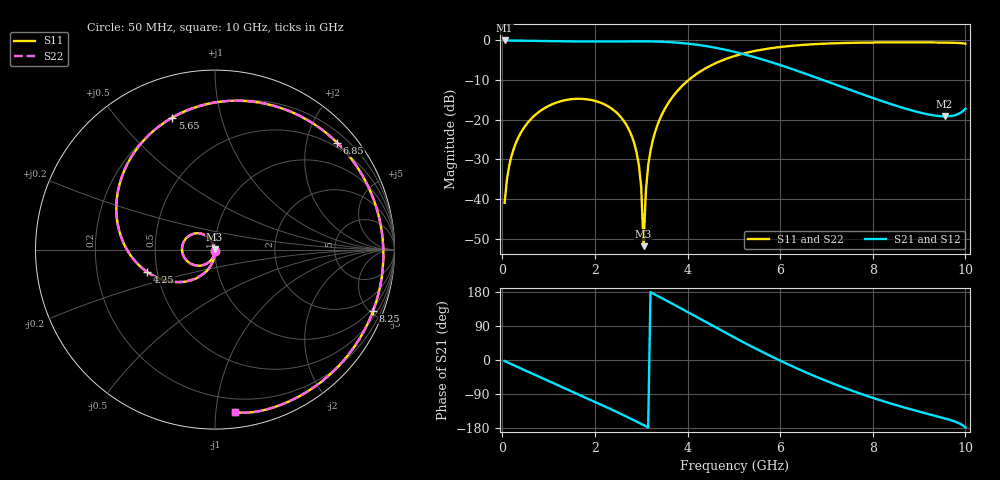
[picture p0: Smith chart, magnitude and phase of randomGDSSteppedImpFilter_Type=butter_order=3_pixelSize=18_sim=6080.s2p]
! freq	dB(S11)	phase(S11)	dB(S12)	phase(S12)
!  dB(S21)	phase(S21)	dB(S22)	phase(S22)
!S-par simulation data
#  GHz  S  DB  R 50
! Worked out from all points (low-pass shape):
!   200 points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, 50 MHz to 10 GHz, reference 50 ohm
!   highest |S21| = -0.01 dB at 50 MHz (marker M1); lowest = -19.2 dB at 9.55 GHz (marker M2)
!   |S21| within 3 dB of the highest: start of sweep to 5.058 GHz
!   lowest |S11| = -51.9 dB at 3.05 GHz (marker M3), VSWR 1.01, Z = 49.8 + j0.0727 ohm
!   |S11| at or under -10 dB: start of sweep to 4.022 GHz
!   |S22| runs from -47.5 to -0.5 dB; largest |S21 - S12| = 0
!   S11 on the Smith chart (normalised r, x): 50 MHz: 1.00, -0.02; 4.25 GHz: 0.44, -0.13; 5.65 GHz: 0.19, +0.71; 6.85 GHz: 0.40, +2.61; 8.25 GHz: 0.83, -5.25; 10 GHz: 0.11, -1.12
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0.05  -40.94 -91.9  -0.01 -2.8  -0.01 -2.8  -40.94 -91.9
0.2  -29.12 -101.0  -0.02 -11.2  -0.02 -11.2  -29.12 -101.0
0.5  -21.49 -118.3  -0.07 -27.9  -0.07 -27.9  -21.49 -118.2
1.15  -15.75 -154.3  -0.19 -63.6  -0.19 -63.6  -15.76 -154.1
1.75  -14.75 172.8  -0.26 -96.4  -0.26 -96.4  -14.75 173.1
2.4  -17.53 136.5  -0.24 -132.9  -0.24 -132.9  -17.53 137.2
2.8  -24.25 113.9  -0.21 -156.5  -0.21 -156.5  -24.24 115.7
3  -37.03 107.6  -0.22 -168.7  -0.22 -168.7  -36.81 115.7
3.05  -51.89 163.3  -0.22 -171.8  -0.22 -171.8  -47.48 174.1
3.1  -38.00 -94.6  -0.23 -174.9  -0.23 -174.9  -37.66 -103.4
3.15  -31.58 -93.3  -0.24 -178.0  -0.24 -178.0  -31.49 -97.6
3.4  -19.87 -106.2  -0.31 166.1  -0.31 166.1  -19.86 -107.3
4.25  -8.02 -161.6  -1.15 109.8  -1.15 109.8  -8.02 -161.7
5.05  -3.81 145.6  -2.98 56.8  -2.98 56.8  -3.82 145.7
5.65  -2.23 108.0  -4.92 19.1  -4.92 19.1  -2.24 108.2
6.7  -0.97 48.8  -9.03 -40.2  -9.03 -40.2  -0.97 49.1
6.85  -0.87 41.1  -9.66 -47.9  -9.66 -47.9  -0.87 41.4
7.5  -0.61 10.2  -12.42 -78.7  -12.42 -78.7  -0.61 10.5
8.25  -0.49 -21.1  -15.50 -109.7  -15.50 -109.7  -0.50 -20.8
8.35  -0.49 -24.9  -15.89 -113.4  -15.89 -113.4  -0.49 -24.7
9.55  -0.54 -66.9  -19.16 -153.9  -19.16 -153.9  -0.54 -66.6
10  -0.82 -83.1  -17.23 -177.7  -17.23 -177.7  -0.81 -82.8
